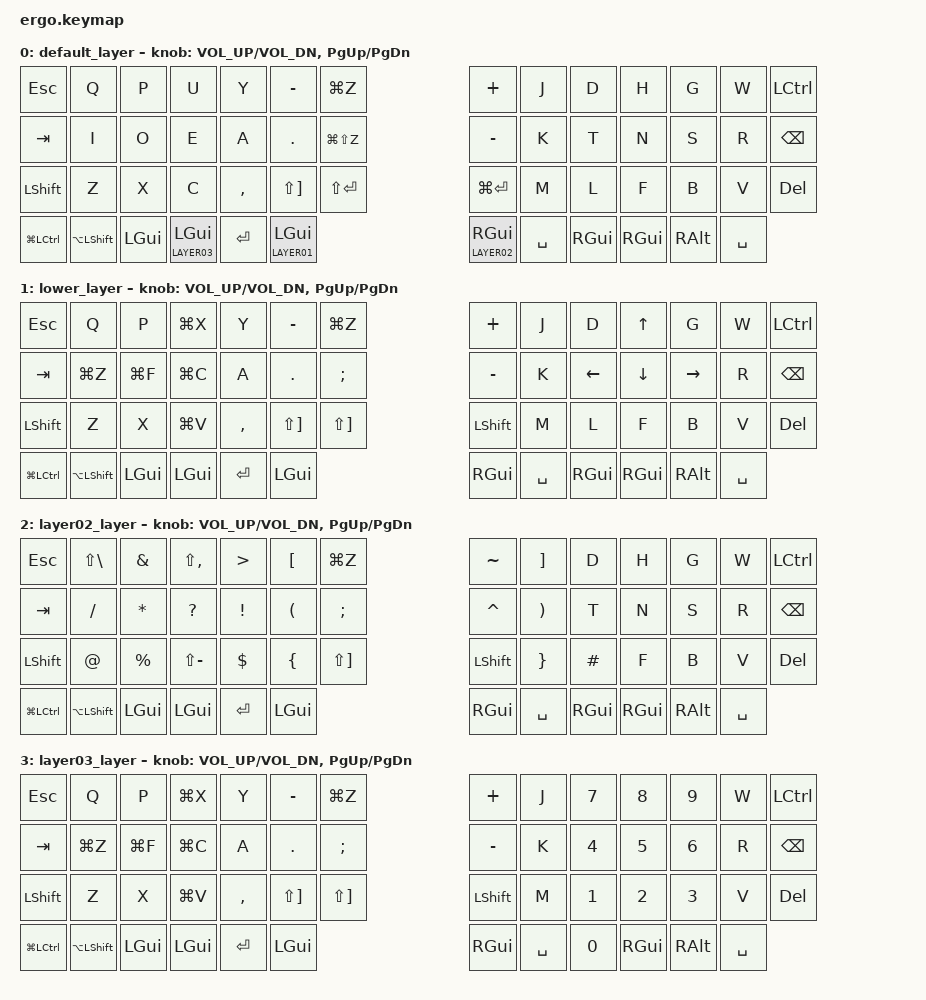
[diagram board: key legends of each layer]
/*
 * Copyright (c) 2020 The ZMK Contributors
 *
 * SPDX-License-Identifier: MIT
 */

#include <behaviors.dtsi>
#include <dt-bindings/zmk/keys.h>
#include <dt-bindings/zmk/bt.h>



/* レイヤー名指定 */
/* LAYER01 =>  vscodoやスクリーンショット・キー移動などのコマンドメインのレイヤー */
/* LAYER02 =>  記号などメインのレイヤー */
/* LAYER03 =>  数字などがメインのレイヤー */
#define DEFAULT 0
#define LAYER01 1
#define LAYER02 2
#define LAYER03 3

/* ltのタイミング設定 */
&mt {
    tapping-term-ms = <200>;
};



/ {

  behaviors {
    td_mt: tap_dance_mod_tap {
        compatible = "zmk,behavior-tap-dance";
        label = "TAP_DANCE_MOD_TAP";
        #binding-cells = <0>;
        tapping-term-ms = <200>;
        bindings = <&mt LSHIFT CAPSLOCK>, <&kp LCTRL>;
    };
  };




	keymap {
		compatible = "zmk,keymap";


  /* DEFAULT LAYER */

		default_layer {
			bindings = <
	&kp ESC  &kp Q  &kp P  &kp U  &kp Y  &kp MINUS  &kp LG(Z)                                    &kp PLUS   &kp J     &kp D     &kp H     &kp G   &kp W    &kp LCTRL
	&kp TAB  &kp I  &kp O  &kp E  &kp A  &kp DOT  &kp LG(LS(Z))                                   &kp MINUS  &kp K     &kp T     &kp N     &kp S   &kp R    &kp BACKSPACE
	&kp LSHIFT  &kp Z  &kp X  &kp C  &kp COMMA  &kp LS(RIGHT_BRACKET)  &kp LS(ENTER)               &kp LG(ENTER)  &kp M     &kp L     &kp F     &kp B   &kp V    &kp DELETE
	&kp LG(LCTRL) &kp LA(LSHIFT) &kp LGUI &lt LAYER03 LGUI &kp ENTER &lt LAYER01 LGUI              &lt LAYER02 RGUI &kp SPACE &kp RGUI    &kp RGUI	 &kp RALT  &kp SPACE
			>;

			sensor-bindings = <&inc_dec_kp C_VOL_UP C_VOL_DN &inc_dec_kp PG_UP PG_DN>;
		};


  /* LAYER 01 */
  /* layer01_layer 名前注意 */
		lower_layer {
			bindings = <
	&kp ESC   &kp Q      &kp P      &kp LG(X)  &kp Y  &kp MINUS  &kp LG(Z)                                  &kp PLUS   &kp J     &kp D     &kp UP     &kp G   &kp W    &kp LCTRL
	&kp TAB   &kp LG(Z)  &kp LG(F)  &kp LG(C)  &kp A  &kp DOT  &kp SEMI                                     &kp MINUS  &kp K     &kp LEFT     &kp DOWN     &kp RIGHT   &kp R    &kp BACKSPACE
	&kp LSHFT &kp Z      &kp X      &kp LG(V)  &kp COMMA  &kp LS(RIGHT_BRACKET)  &kp LS(RIGHT_BRACKET)      &kp LSHFT  &kp M     &kp L     &kp F     &kp B   &kp V    &kp DELETE
	&kp LG(LCTRL) &kp LA(LSHIFT) &kp LGUI &kp LGUI &kp ENTER &kp LGUI                                       &kp RGUI &kp SPACE &kp RGUI    &kp RGUI	 &kp RALT  &kp SPACE
			>;

			sensor-bindings = <&inc_dec_kp C_VOL_UP C_VOL_DN &inc_dec_kp PG_UP PG_DN>;
		};





  /* LAYER 02 */
  /* layer02_layer 名前注意 */
		layer02_layer {
			bindings = <
	&kp ESC       &kp LS(BSLH)   &kp AMPS   &kp LS(COMMA)  &kp GT    &kp LBKT  &kp LG(Z)                       &kp TILDE  &kp RBKT     &kp D     &kp H     &kp G   &kp W    &kp LCTRL
	&kp TAB       &kp FSLH       &kp STAR   &kp QMARK      &kp EXCL  &kp LPAR  &kp SEMI                        &kp CARET  &kp RPAR     &kp T     &kp N     &kp S   &kp R    &kp BACKSPACE
	&kp LSHFT     &kp AT         &kp PRCNT  &kp LS(MINUS)  &kp DLLR  &kp LBRC  &kp LS(RIGHT_BRACKET)           &kp LSHFT  &kp RBRC     &kp HASH     &kp F     &kp B   &kp V    &kp DELETE
	&kp LG(LCTRL) &kp LA(LSHIFT) &kp LGUI   &kp LGUI       &kp ENTER &kp LGUI                                         &kp RGUI &kp SPACE &kp RGUI    &kp RGUI	 &kp RALT  &kp SPACE
			>;

			sensor-bindings = <&inc_dec_kp C_VOL_UP C_VOL_DN &inc_dec_kp PG_UP PG_DN>;
		};






  /* LAYER 03 */
  /* layer03_layer 名前注意 */
		layer03_layer {
			bindings = <
	&kp ESC   &kp Q      &kp P      &kp LG(X)  &kp Y  &kp MINUS  &kp LG(Z)                                 &kp PLUS   &kp J     &kp N7     &kp N8     &kp N9   &kp W    &kp LCTRL
	&kp TAB   &kp LG(Z)  &kp LG(F)  &kp LG(C)  &kp A  &kp DOT  &kp SEMI                                    &kp MINUS  &kp K     &kp N4     &kp N5     &kp N6   &kp R    &kp BACKSPACE
	&kp LSHFT &kp Z      &kp X      &kp LG(V)  &kp COMMA  &kp LS(RIGHT_BRACKET)  &kp LS(RIGHT_BRACKET)     &kp LSHFT  &kp M     &kp N1     &kp N2     &kp N3   &kp V    &kp DELETE
	&kp LG(LCTRL) &kp LA(LSHIFT) &kp LGUI &kp LGUI &kp ENTER &kp LGUI                                      &kp RGUI   &kp SPACE &kp N0  &kp RGUI &kp RALT  &kp SPACE
			>;

			sensor-bindings = <&inc_dec_kp C_VOL_UP C_VOL_DN &inc_dec_kp PG_UP PG_DN>;
		};




	};
};
